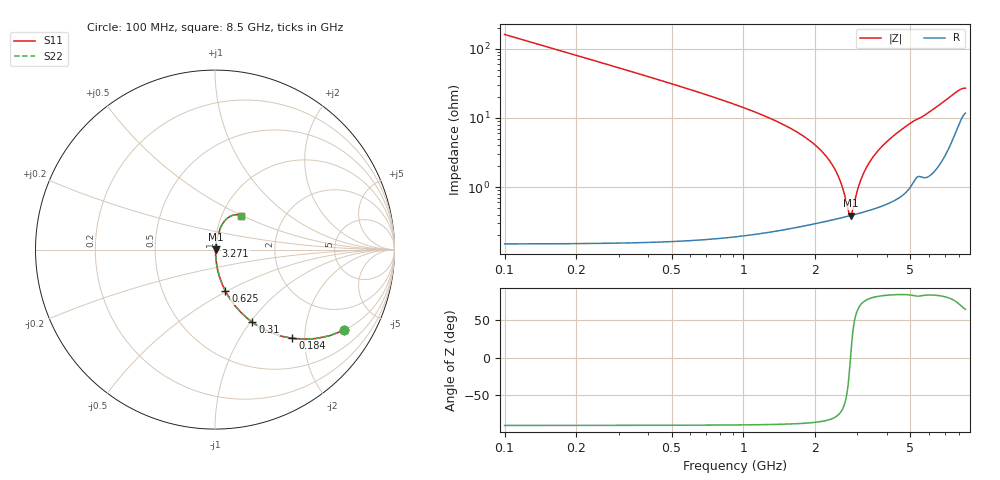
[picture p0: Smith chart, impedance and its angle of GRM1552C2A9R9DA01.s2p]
!Murata Part Number: GRM1552C2A9R9DA01
!These Parameters are Measured in Series Mode Connection
!Data Generated on Mar 30, 2021
!  o--ll--o
!Port1  Port2
!  o------o
!Operation Temp=25[degC], DC Bias Voltage=0[V]
!Freq. Start=100[MHz] Stop=9[GHz] 401[Steps]
# Hz S RI R 50
!Freq.(Hz) S11(Real) S11(Imag) S21(Real) S21(Imag) S12(Real) S12(Imag) S22(Real) S22(Imag)
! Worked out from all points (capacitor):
!   401 points, 100 MHz to 8.5 GHz, reference 50 ohm
!   read as one part in series: C = 9.9 pF near 142 MHz
!   lowest |Z| = 387 mohm at 2.809 GHz (marker M1)
!   series resonance near 2.808 GHz, so ESL is about 320 pH
!   S11 on the Smith chart (normalised r, x): 100 MHz: 1.00, -3.21; 184 MHz: 1.00, -1.74; 310 MHz: 1.00, -1.02; 625 MHz: 1.00, -0.49; 3.271 GHz: 1.01, +0.04; 8.5 GHz: 1.23, +0.48
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1e8  0.7203 -0.4484  0.2797 0.4484  0.2797 0.4484  0.7203 -0.4484
1.84e8  0.4309 -0.4943  0.5691 0.4943  0.5691 0.4943  0.4309 -0.4943
3.1e8  0.2087 -0.4048  0.7913 0.4048  0.7913 0.4048  0.2087 -0.4048
4.36e8  0.1158 -0.3178  0.8842 0.3178  0.8842 0.3178  0.1158 -0.3178
6.25e8  0.0579 -0.2301  0.9421 0.2301  0.9421 0.2301  0.0579 -0.2301
1.507e9  0.00821 -0.0757  0.9918 0.0757  0.9918 0.0757  0.00821 -0.0757
1.99e9  0.00458 -0.0405  0.9954 0.0405  0.9954 0.0405  0.00458 -0.0405
2.326e9  0.00379 -0.022  0.9962 0.022  0.9962 0.022  0.00379 -0.022
2.536e9  0.00368 -0.0119  0.9963 0.0119  0.9963 0.0119  0.00368 -0.0119
2.746e9  0.00378 -0.00263  0.9962 0.00263  0.9962 0.00263  0.00378 -0.00263
2.809e9  0.00385 4.26e-05  0.9961 -4.26e-05  0.9961 -4.26e-05  0.00385 4.26e-05
2.851e9  0.00391 0.0018  0.9961 -0.0018  0.9961 -0.0018  0.00391 0.0018
2.914e9  0.004 0.00439  0.996 -0.00439  0.996 -0.00439  0.004 0.00439
3.061e9  0.00427 0.0103  0.9957 -0.0103  0.9957 -0.0103  0.00427 0.0103
3.271e9  0.00478 0.0184  0.9952 -0.0184  0.9952 -0.0184  0.00478 0.0184
3.691e9  0.00623 0.0338  0.9938 -0.0338  0.9938 -0.0338  0.00623 0.0338
4.3e9  0.00948 0.0555  0.9905 -0.0555  0.9905 -0.0555  0.00948 0.0555
5.035e9  0.0171 0.0822  0.9829 -0.0822  0.9829 -0.0822  0.0171 0.0822
5.707e9  0.0243 0.103  0.9757 -0.103  0.9757 -0.103  0.0243 0.103
7.114e9  0.0606 0.167  0.9394 -0.167  0.9394 -0.167  0.0606 0.167
7.933e9  0.1131 0.1943  0.8869 -0.1943  0.8869 -0.1943  0.1131 0.1943
8.5e9  0.1449 0.1851  0.8551 -0.1851  0.8551 -0.1851  0.1449 0.1851
